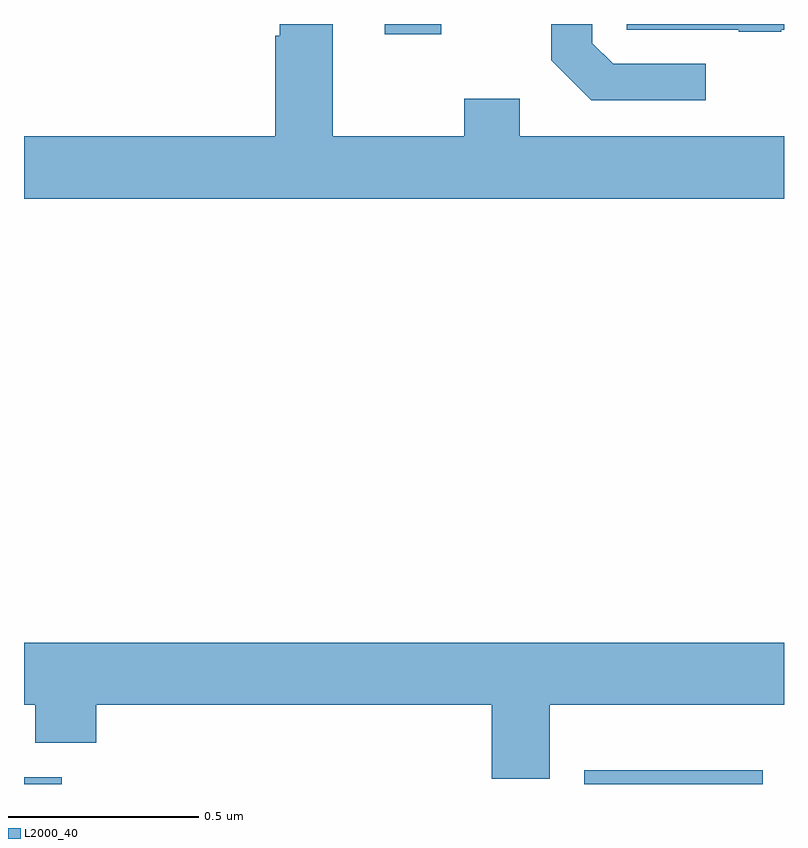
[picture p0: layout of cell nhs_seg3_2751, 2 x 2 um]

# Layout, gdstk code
import gdstk
lib = gdstk.Library(unit=1e-6, precision=1e-09)
def R(c, l, rs):  # rectangles x0, y0, x1, y1
    for r in rs: c.add(gdstk.rectangle(r[:2], r[2:], *l))
def P(c, l, *ps):  # polygons
    for p in ps: c.add(gdstk.Polygon(p, *l))
L2000_40 = (2000, 40)

nhs_seg3_2751 = lib.new_cell('nhs_seg3_2751')
R(nhs_seg3_2751, L2000_40, [(145,675.4,145.099,675.418), (146.474,675.4,146.944,675.436), (145.949,677.373,146.098,677.4)])
P(nhs_seg3_2751, L2000_40, [(147,677.104),(146.305,677.104),(146.305,677.203),(146.158,677.203),(146.158,677.104),(145.813,677.104),(145.813,677.4),(145.673,677.4),(145.673,677.369),(145.661,677.369),(145.661,677.104),(145,677.104),(145,676.94),(147,676.94)],
  [(146.993,677.385),(147,677.385),(147,677.4),(146.586,677.4),(146.586,677.385),(146.881,677.385),(146.881,677.38),(146.993,677.38)],
  [(146.794,677.295),(146.55,677.295),(146.496,677.349),(146.496,677.4),(146.388,677.4),(146.388,677.305),(146.493,677.199),(146.794,677.199)],
  [(146.383,675.608),(147,675.608),(147,675.772),(145,675.772),(145,675.608),(145.03,675.608),(145.03,675.509),(145.19,675.509),(145.19,675.608),(146.231,675.608),(146.231,675.414),(146.383,675.414)])

lib.write_gds('nhs_seg3_2751.gds')
